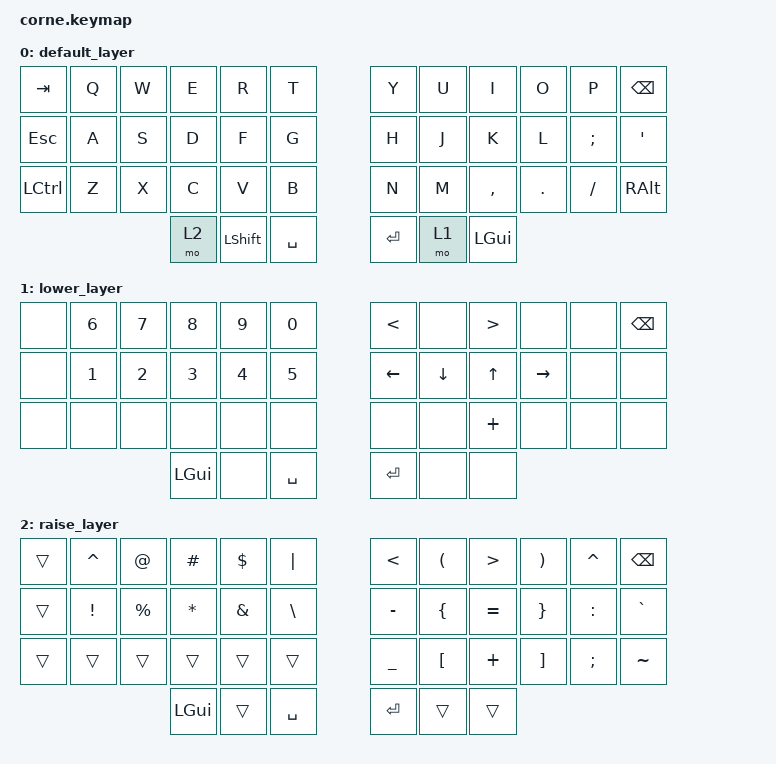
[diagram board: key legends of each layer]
/*
 * Copyright (c) 2020 The ZMK Contributors
 *

 */

#include <behaviors.dtsi>
#include <dt-bindings/zmk/bt.h>
#include <dt-bindings/zmk/keys.h>

/ {
    combos {
        compatible = "zmk,combos";

        BLUET_CLEAR {
            bindings = <&bt BT_CLR>;
            key-positions = <36 40 29 27>;
        };
    };

    keymap {
        compatible = "zmk,keymap";

        default_layer {
            // -----------------------------------------------------------------------------------------
            // | TAB |  Q  |  W  |  E  |  R  |  T  |   |  Y  |  U   |  I  |  O  |  P  | BSPC |
            // | ESC |  A  |  S  |  D  |  F  |  G  |   |  H  |  J   |  K  |  L  |  ;  |  '   |
            // | CTRL |  Z  |  X  |  C  |  V  |  B  |   |  N  |  M   |  ,  |  .  |  /  | ALT  |
            //                    | GUI | LWR | SPC |   | ENT | RSE  | SHFT |

            bindings = <
&kp TAB    &kp Q  &kp W  &kp E  &kp R      &kp T        &kp Y    &kp U  &kp I      &kp O    &kp P     &kp BSPC
&kp ESC    &kp A  &kp S  &kp D  &kp F      &kp G        &kp H    &kp J  &kp K      &kp L    &kp SEMI  &kp SQT
&kp LCTRL  &kp Z  &kp X  &kp C  &kp V      &kp B        &kp N    &kp M  &kp COMMA  &kp DOT  &kp FSLH  &kp RALT
                         &mo 2  &kp LSHFT  &kp SPACE    &kp RET  &mo 1  &kp LGUI
            >;
        };

        lower_layer {
            // -----------------------------------------------------------------------------------------
            // |  TAB |  1  |  2  |  3  |  4  |  5  |   |  6  |  7  |  8  |  9  |  0  | BSPC |
            // | BTCLR| BT1 | BT2 | BT3 | BT4 | BT5 |   | LFT | DWN |  UP | RGT |     |      |
            // |      |     |     |     |     |     |   |     |     |     |     |     |      |
            //                    | GUI |     | SPC |   | ENT |     |    | 

            bindings = <
&none  &kp NUMBER_6  &kp N7        &kp N8        &kp N9        &kp N0       &kp LESS_THAN  &none     &kp GREATER_THAN  &none      &none  &kp BSPC
&none  &kp NUMBER_1  &kp NUMBER_2  &kp NUMBER_3  &kp NUMBER_4  &kp N5       &kp LEFT       &kp DOWN  &kp UP_ARROW      &kp RIGHT  &none  &none
&none  &none         &none         &none         &none         &none        &none          &none     &kp PLUS          &none      &none  &none
                                   &kp LGUI      &none         &kp SPACE    &kp RET        &none     &none
            >;
        };

        raise_layer {
            // -----------------------------------------------------------------------------------------
            // |      |  !  |  @  |  #  |  $  |  %  |   |  ^  |  &  |  *  |  (  |  )  | BSPC |
            // |      |     |     |     |     |     |   |  -  |  =  |  [  |  ]  |  \  |  `   |
            // |      |     |     |     |     |     |   |  _  |  +  |  {  |  }  | "|" |  ~   |
            //                    | GUI |     | SPC |   | ENT |     |     |

            bindings = <
&trans  &kp CARET        &kp AT       &kp HASH      &kp DLLR       &kp PIPE         &kp LESS_THAN  &kp LEFT_PARENTHESIS  &kp GREATER_THAN  &kp RPAR  &kp CARET      &kp BSPC
&trans  &kp EXCLAMATION  &kp PERCENT  &kp ASTERISK  &kp AMPERSAND  &kp BACKSLASH    &kp MINUS      &kp LEFT_BRACE        &kp EQUAL         &kp RBRC  &kp COLON      &kp GRAVE
&trans  &trans           &trans       &trans        &trans         &trans           &kp UNDER      &kp LEFT_BRACKET      &kp PLUS          &kp RBKT  &kp SEMICOLON  &kp TILDE
                                      &kp LGUI      &trans         &kp SPACE        &kp RET        &trans                &trans
            >;
        };
    };
};
